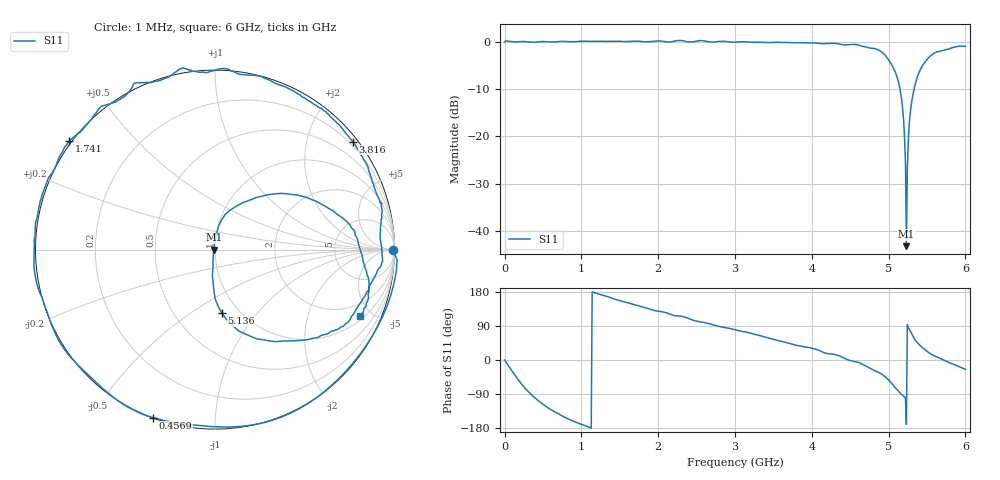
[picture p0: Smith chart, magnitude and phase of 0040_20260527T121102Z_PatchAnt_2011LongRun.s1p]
# Hz S RI R 50
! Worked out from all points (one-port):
!   501 points, 1 MHz to 6 GHz, reference 50 ohm
!   lowest |S11| = -43.1 dB at 5.232 GHz (marker M1), VSWR 1.01, Z = 49.3 - j0.12 ohm
!   |S11| at or under -10 dB: 5.149 GHz to 5.332 GHz (182.6 MHz wide, 3.49 % of centre)
!   S11 on the Smith chart (normalised r, x): 1 MHz: open; 456.9 MHz: 0.00, -0.70; 1.741 GHz: -0.01, +0.33; 3.816 GHz: 0.12, +2.89; 5.136 GHz: 0.83, -0.67; 6 GHz: 1.18, -4.26
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1000000  0.9923 -0.000679
8.4986e7  0.9059 -0.4304
2.28962e8  0.4216 -0.9107
3.12948e8  0.103 -0.9875
4.56924e8  -0.3457 -0.936
7.56874e8  -0.8554 -0.5313
1.056824e9  -1.007 -0.108
1.50075e9  -0.9264 0.4035
1.74071e9  -0.8122 0.6044
2.256624e9  -0.4543 0.9241
3.0005e9  0.1758 0.9736
3.756374e9  0.7349 0.6413
3.816364e9  0.7676 0.6011
4.308282e9  0.9281 0.2302
4.50025e9  0.9305 -0.0206
4.86019e9  0.7011 -0.4315
5.028162e9  0.3072 -0.5095
5.136144e9  0.0371 -0.3518
5.184136e9  -0.00981 -0.1934
5.196134e9  -0.0147 -0.1452
5.208132e9  -0.0114 -0.0953
5.232128e9  -0.00686 -0.00122
5.256124e9  0.00798 0.0865
5.268122e9  0.0197 0.1313
5.304116e9  0.0903 0.2237
5.412098e9  0.3975 0.3112
5.616064e9  0.7592 0.1225
6e9  0.8095 -0.3716
